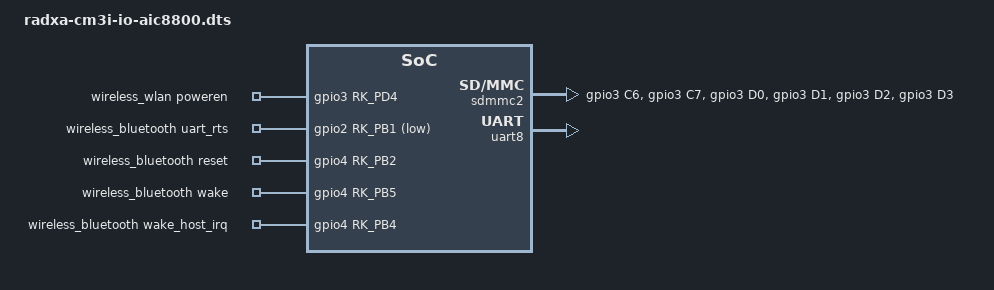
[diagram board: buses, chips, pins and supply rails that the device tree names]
/dts-v1/;
/plugin/;

#include <dt-bindings/gpio/gpio.h>
#include <dt-bindings/pinctrl/rockchip.h>
#include <dt-bindings/clock/rk3568-cru.h>

/ {
	metadata {
		title = "Enable AIC8800 Wireless Module";
		compatible = "radxa,cm3i";
		category = "misc";
		exclusive = "uart8", "GPIO2_B1", "GPIO3_D4", "GPIO4_B2", "GPIO4_B5", "GPIO4_B4";
		description = "Enable AIC8800 Wireless Module.";
	};
};

&{/} {
	wireless_wlan: wireless-wlan {
		compatible = "wlan-platdata";
		rockchip,grf = <&grf>;
		/* WIFI_REG_ON_H_GPIO3_D4 */
		WIFI,poweren_gpio = <&gpio3 RK_PD4 GPIO_ACTIVE_HIGH>;
		status = "okay";
	};

	wireless_bluetooth: wireless-bluetooth {
		compatible = "bluetooth-platdata";
		clocks = <&pmucru CLK_RTC_32K>;
		clock-names = "ext_clock";
		/* UART1_RTSn_M0 */
		uart_rts_gpios = <&gpio2 RK_PB1 GPIO_ACTIVE_LOW>;
		pinctrl-names = "default", "rts_gpio";
		pinctrl-0 = <&uart8m0_rtsn>;
		pinctrl-1 = <&uart8_gpios>; // UART8_RTS_M0
		/* BT_REG_ON_H_GPIO4_B2 */
		BT,reset_gpio    = <&gpio4 RK_PB2 GPIO_ACTIVE_HIGH>;
		/* HOST_WAKE_BT_H_GPIO4_B5 */
		BT,wake_gpio     = <&gpio4 RK_PB5 GPIO_ACTIVE_HIGH>;
		/* BT_WAKE_HOST_H_GPIO4_B4 */
		BT,wake_host_irq = <&gpio4 RK_PB4 GPIO_ACTIVE_HIGH>;
		status = "okay";
	};
};

&sdio_pwrseq {
	compatible = "mmc-pwrseq-simple";
	pinctrl-names = "default";
	pinctrl-0 = <&wifi_enable_h_aic>;
	/*
	 * On the module itself this is one of these (depending
	 * on the actual card populated):
	 * - SDIO_RESET_L_WL_REG_ON
	 * - PDN (power down when low)
	 */
	/* WIFI_REG_ON_H_GPIO3_D4 */
	reset-gpios = <&gpio3 RK_PD4 GPIO_ACTIVE_LOW>;
	mmc-pwrseq = <&sdio_pwrseq>;
};

&sdmmc2 {
	status = "okay";
	pinctrl-0 = <&sdmmc2m0_bus4 &sdmmc2m0_cmd &sdmmc2m0_clk>;
};

&brcmf {
	status = "disabled";
};

&uart8 {
	status = "okay";
	pinctrl-names = "default";
	pinctrl-0 = <&uart8m0_xfer &uart8m0_ctsn>;
	auto-flow-control = <1>;
};

&bluetooth {
	status = "disabled";
};

&pinctrl {
	wifi2 {
		wifi_enable_h_aic: wifi-enable-h {
			/* WIFI_REG_ON_H_GPIO3_D4 */
			rockchip,pins = <3 RK_PD4 RK_FUNC_GPIO &pcfg_pull_none>;
		};
	};

	wireless-bluetooth {
		uart8_gpios: uart8-gpios {
			rockchip,pins = <2 RK_PB1 RK_FUNC_GPIO &pcfg_pull_none>; // UART8_RTS_M0
		};
	};

	sdmmc2 {
		/* omit-if-no-ref */
		sdmmc2m0_bus4: sdmmc2m0-bus4 {
			rockchip,pins =
				/* sdmmc2_d0m0 */
				<3 RK_PC6 3 &pcfg_pull_up_drv_level_12>,
				/* sdmmc2_d1m0 */
				<3 RK_PC7 3 &pcfg_pull_up_drv_level_12>,
				/* sdmmc2_d2m0 */
				<3 RK_PD0 3 &pcfg_pull_up_drv_level_12>,
				/* sdmmc2_d3m0 */
				<3 RK_PD1 3 &pcfg_pull_up_drv_level_12>;
		};

		/* omit-if-no-ref */
		sdmmc2m0_clk: sdmmc2m0-clk {
			rockchip,pins =
				/* sdmmc2_clkm0 */
				<3 RK_PD3 3 &pcfg_pull_up_drv_level_12>;
		};

		/* omit-if-no-ref */
		sdmmc2m0_cmd: sdmmc2m0-cmd {
			rockchip,pins =
				/* sdmmc2_cmdm0 */
				<3 RK_PD2 3 &pcfg_pull_up_drv_level_12>;
		};

		/* omit-if-no-ref */
		sdmmc2m0_det: sdmmc2m0-det {
			rockchip,pins =
				/* sdmmc2_detm0 */
				<3 RK_PD4 3 &pcfg_pull_up>;
		};

		/* omit-if-no-ref */
		sdmmc2m0_pwren: sdmmc2m0-pwren {
			rockchip,pins =
				/* sdmmc2m0_pwren */
				<3 RK_PD5 3 &pcfg_pull_none>;
		};
	};
};
